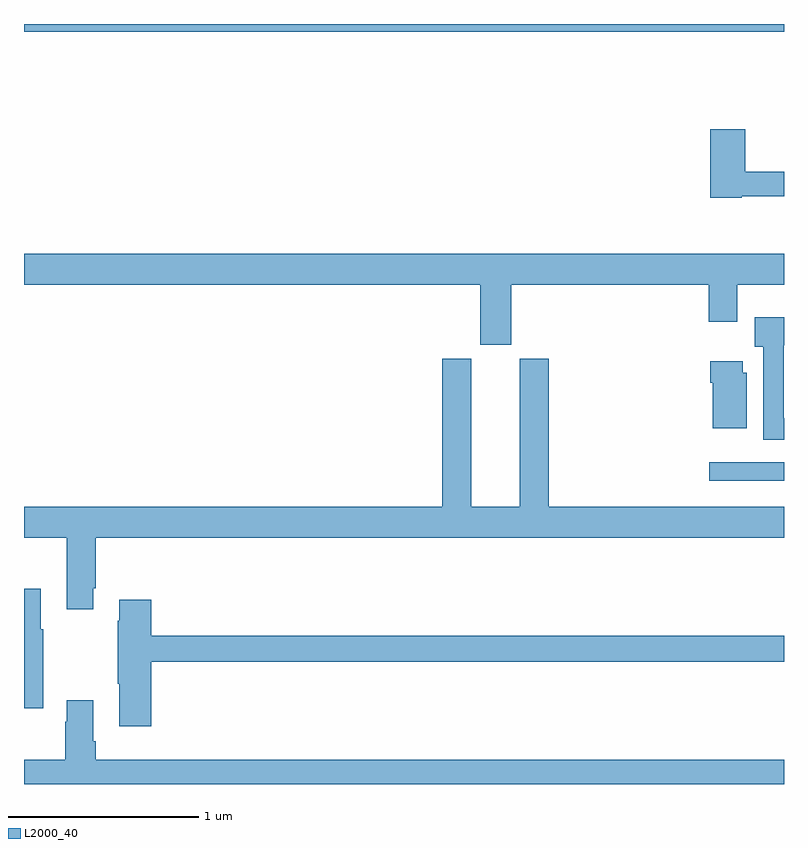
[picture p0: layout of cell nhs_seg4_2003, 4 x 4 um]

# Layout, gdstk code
import gdstk
lib = gdstk.Library(unit=1e-6, precision=1e-09)
def R(c, l, rs):  # rectangles x0, y0, x1, y1
    for r in rs: c.add(gdstk.rectangle(r[:2], r[2:], *l))
def P(c, l, *ps):  # polygons
    for p in ps: c.add(gdstk.Polygon(p, *l))
L2000_40 = (2000, 40)

nhs_seg4_2003 = lib.new_cell('nhs_seg4_2003')
R(nhs_seg4_2003, L2000_40, [(218.607,754.496,219,754.593), (215,756.86,219,756.9)])
P(nhs_seg4_2003, L2000_40, [(218.778,755.994),(219,755.994),(219,756.122),(218.795,756.122),(218.795,756.346),(218.612,756.346),(218.612,755.986),(218.778,755.986)],
  [(215,755.528),(217.4,755.528),(217.4,755.211),(217.564,755.211),(217.564,755.528),(218.603,755.528),(218.603,755.334),(218.755,755.334),(218.755,755.528),(219,755.528),(219,755.692),(215,755.692)],
  [(219,754.826),(218.998,754.826),(218.998,755.209),(219,755.209),(219,755.356),(218.846,755.356),(218.846,755.202),(218.891,755.202),(218.891,754.713),(219,754.713)],
  [(215.365,753.931),(215.378,753.931),(215.378,754.196),(219,754.196),(219,754.36),(217.763,754.36),(217.763,755.139),(217.61,755.139),(217.61,754.36),(217.354,754.36),(217.354,755.139),(217.202,755.139),(217.202,754.36),(215,754.36),(215,754.196),(215.225,754.196),(215.225,753.819),(215.365,753.819)],
  [(218.803,755.064),(218.782,755.064),(218.782,755.125),(218.612,755.125),(218.612,755.012),(218.624,755.012),(218.624,754.772),(218.803,754.772)],
  [(215.101,753.715),(215.089,753.715),(215.089,753.928),(215,753.928),(215,753.299),(215.101,753.299)],
  [(215.669,753.544),(219,753.544),(219,753.68),(215.669,753.68),(215.669,753.871),(215.501,753.871),(215.501,753.758),(215.494,753.758),(215.494,753.427),(215.501,753.427),(215.501,753.204),(215.669,753.204)],
  [(219,753.028),(215.378,753.028),(215.378,753.124),(215.365,753.124),(215.365,753.34),(215.225,753.34),(215.225,753.227),(215.218,753.227),(215.218,753.028),(215,753.028),(215,752.9),(219,752.9)])

lib.write_gds('nhs_seg4_2003.gds')
